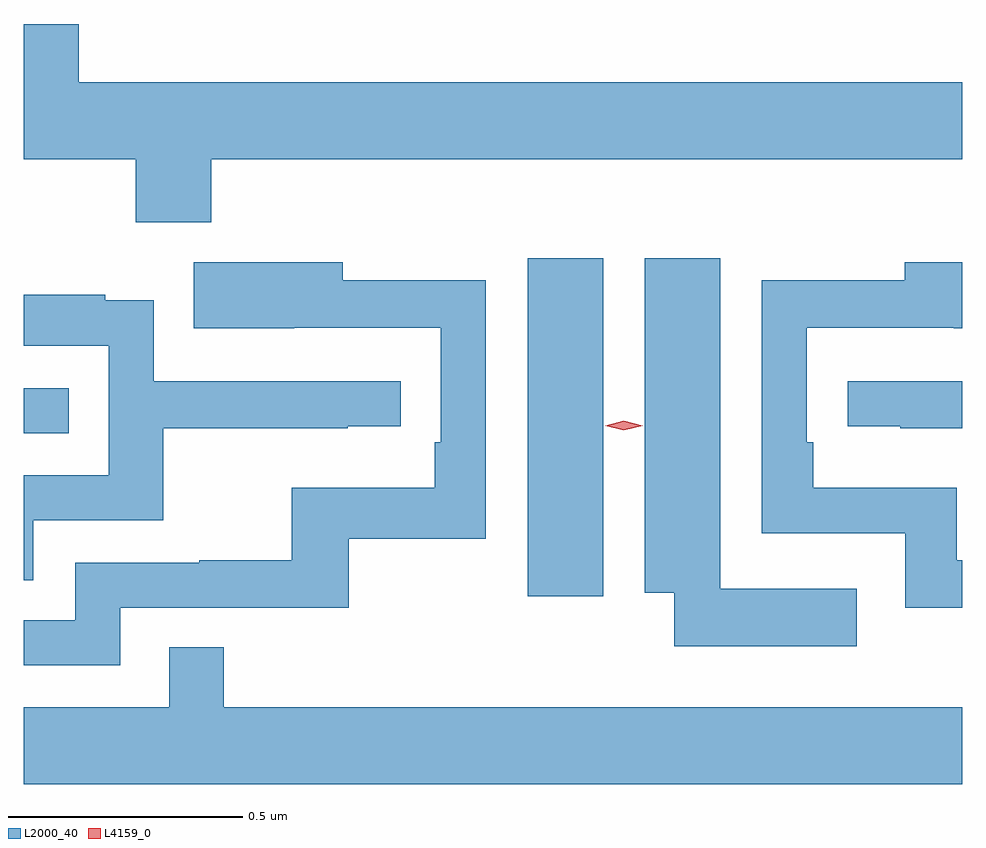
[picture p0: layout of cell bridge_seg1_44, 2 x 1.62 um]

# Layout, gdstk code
import gdstk
lib = gdstk.Library(unit=1e-6, precision=1e-09)
def R(c, l, rs):  # rectangles x0, y0, x1, y1
    for r in rs: c.add(gdstk.rectangle(r[:2], r[2:], *l))
def P(c, l, *ps):  # polygons
    for p in ps: c.add(gdstk.Polygon(p, *l))
L2000_40 = (2000, 40)
L4159_0 = (4159, 0)

bridge_seg1_44 = lib.new_cell('bridge_seg1_44')
R(bridge_seg1_44, L2000_40, [(1082.855,533.484,1083.016,534.205), (1081.781,533.832,1081.877,533.928)])
P(bridge_seg1_44, L2000_40, [(1082.18,534.416),(1083.781,534.416),(1083.781,534.58),(1081.898,534.58),(1081.898,534.704),(1081.781,534.704),(1081.781,534.416),(1082.02,534.416),(1082.02,534.281),(1082.18,534.281)],
  [(1083.556,533.5),(1083.265,533.5),(1083.265,534.205),(1083.104,534.205),(1083.104,533.492),(1083.167,533.492),(1083.167,533.378),(1083.556,533.378)],
  [(1083.781,533.561),(1083.769,533.561),(1083.769,533.716),(1083.464,533.716),(1083.464,533.812),(1083.45,533.812),(1083.45,534.057),(1083.763,534.057),(1083.763,534.056),(1083.781,534.056),(1083.781,534.196),(1083.659,534.196),(1083.659,534.158),(1083.354,534.158),(1083.354,533.619),(1083.66,533.619),(1083.66,533.46),(1083.781,533.46)],
  [(1081.986,533.46),(1082.473,533.46),(1082.473,533.607),(1082.766,533.607),(1082.766,534.158),(1082.461,534.158),(1082.461,534.196),(1082.143,534.196),(1082.143,534.056),(1082.357,534.056),(1082.357,534.057),(1082.67,534.057),(1082.67,533.812),(1082.657,533.812),(1082.657,533.716),(1082.352,533.716),(1082.352,533.561),(1082.155,533.561),(1082.155,533.556),(1081.89,533.556),(1081.89,533.433),(1081.781,533.433),(1081.781,533.337),(1081.986,533.337)],
  [(1081.801,533.646),(1082.078,533.646),(1082.078,533.842),(1082.471,533.842),(1082.471,533.847),(1082.584,533.847),(1082.584,533.943),(1082.058,533.943),(1082.058,534.115),(1081.955,534.115),(1081.955,534.127),(1081.781,534.127),(1081.781,534.018),(1081.962,534.018),(1081.962,533.742),(1081.781,533.742),(1081.781,533.518),(1081.801,533.518)],
  [(1083.781,533.943),(1083.537,533.943),(1083.537,533.847),(1083.649,533.847),(1083.649,533.842),(1083.781,533.842)],
  [(1083.781,533.248),(1082.207,533.248),(1082.207,533.375),(1082.091,533.375),(1082.091,533.248),(1081.781,533.248),(1081.781,533.084),(1083.781,533.084)])
P(bridge_seg1_44, L4159_0, [(1083.06,533.838),(1083.02,533.848),(1083.02,533.848),(1083.02,533.848),(1083.06,533.858),(1083.1,533.848),(1083.1,533.848),(1083.1,533.848)])

lib.write_gds('bridge_seg1_44.gds')
